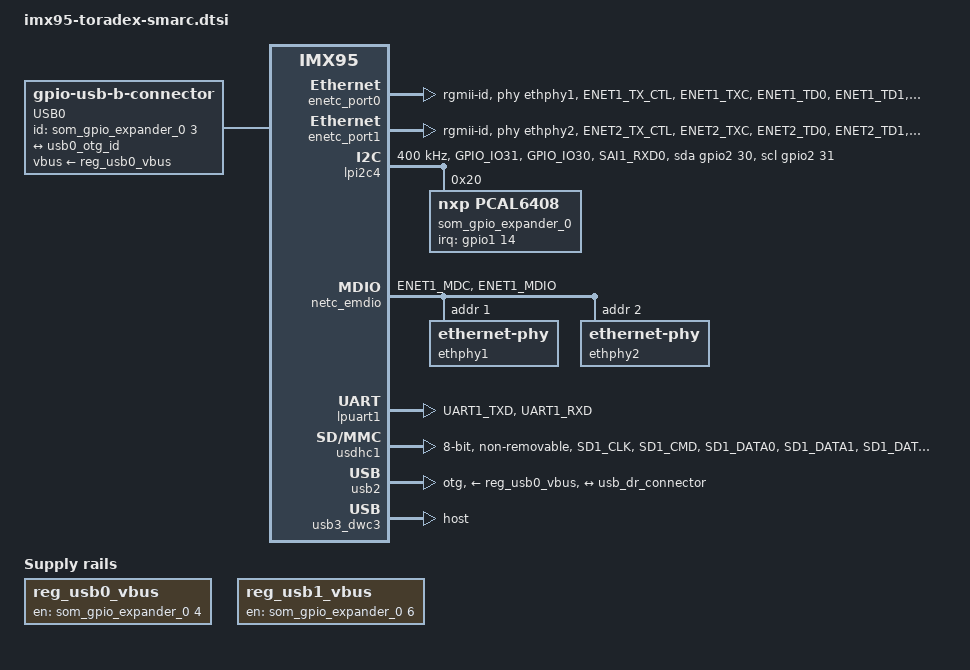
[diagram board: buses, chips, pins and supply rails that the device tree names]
// SPDX-License-Identifier: GPL-2.0-or-later OR MIT
/*
 * Copyright 2025 Toradex
 *
 * https://www.toradex.com/computer-on-modules/smarc-arm-family/nxp-imx95
 */

#include <dt-bindings/net/ti-dp83867.h>
#include "imx95.dtsi"

/ {
	chosen {
		stdout-path = "serial1:115200n8";
	};

	aliases {
		mmc0 = &usdhc1;
		serial1 = &lpuart1;
		ethernet0 = &enetc_port0;
		ethernet1 = &enetc_port1;
	};

	connector {
		compatible = "gpio-usb-b-connector", "usb-b-connector";
		/* SMARC P64 - USB0_OTG_ID */
		id-gpios = <&som_gpio_expander_0 3 GPIO_ACTIVE_HIGH>;
		label = "USB0";
		self-powered;
		type = "micro";
		vbus-supply = <&reg_usb0_vbus>;

		port {
			usb_dr_connector: endpoint {
				remote-endpoint = <&usb0_otg_id>;
			};
		};
	};

	reg_usb0_vbus: regulator-usb0-vbus {
		compatible = "regulator-fixed";
		/* SMARC P62 - USB0_EN_OC# */
		gpios = <&som_gpio_expander_0 4 GPIO_ACTIVE_HIGH>;
		enable-active-high;
		regulator-name = "USB0_EN_OC#";
	};

	reg_usb1_vbus: regulator-usb1-vbus {
		compatible = "regulator-fixed";
		/* CTRL_V_BUS_USB_HUB or SMARC P71 - USB2_EN_OC# */
		gpios = <&som_gpio_expander_0 6 GPIO_ACTIVE_HIGH>;
		enable-active-high;
		regulator-name = "CTRL_V_BUS_USB_HUB";
	};
};

/* SMARC GBE0 */
&enetc_port0 {
	pinctrl-names = "default";
	pinctrl-0 = <&pinctrl_enetc0>, <&pinctrl_enetc0_1588_tmr>;
	phy-handle = <&ethphy1>;
	phy-mode = "rgmii-id";
};

/* SMARC GBE1 */
&enetc_port1 {
	pinctrl-names = "default";
	pinctrl-0 = <&pinctrl_enetc1>, <&pinctrl_enetc1_1588_tmr>;
	phy-handle = <&ethphy2>;
	phy-mode = "rgmii-id";
};

/* SMARC I2C_CAM0 */
&lpi2c4 {
	pinctrl-names = "default", "gpio";
	pinctrl-0 = <&pinctrl_lpi2c4>, <&pinctrl_ctrl_io_exp_int_b>;
	pinctrl-1 = <&pinctrl_lpi2c4_gpio>, <&pinctrl_ctrl_io_exp_int_b>;
	#address-cells = <1>;
	#size-cells = <0>;
	clock-frequency = <400000>;
	scl-gpios = <&gpio2 31 (GPIO_ACTIVE_HIGH | GPIO_OPEN_DRAIN)>;
	sda-gpios = <&gpio2 30 (GPIO_ACTIVE_HIGH | GPIO_OPEN_DRAIN)>;
	status = "okay";

	som_gpio_expander_0: gpio-expander@20 {
		compatible = "nxp,pcal6408";
		reg = <0x20>;
		#interrupt-cells = <2>;
		interrupt-controller;
		interrupt-parent = <&gpio1>;
		interrupts = <14 IRQ_TYPE_LEVEL_LOW>;
		#gpio-cells = <2>;
		gpio-controller;
		gpio-line-names =
			"SMARC_PCIE_WAKE#", /* 0 */
			"SMARC_PCIE_B_RST#",
			"SMARC_PCIE_A_RST#",
			"SMARC_USB0_OTG_ID",
			"SMARC_USB0_EN", /* SMARC USB0_EN_OC# - Open Drain Output */
			"SMARC_USB0_OC#", /* SMARC USB0_EN_OC# - Over-Current Sense Input */
			"",
			"SMARC_PCIE_C_RST#";
	};
};

/* SMARC MDIO, shared between all ethernet ports */
&netc_emdio {
	pinctrl-names = "default";
	pinctrl-0 = <&pinctrl_emdio>;

	ethphy1: ethernet-phy@1 {
		reg = <1>;
		ti,rx-internal-delay = <DP83867_RGMIIDCTL_2_00_NS>;
		ti,tx-internal-delay = <DP83867_RGMIIDCTL_2_00_NS>;
	};

	ethphy2: ethernet-phy@2 {
		reg = <2>;
		ti,rx-internal-delay = <DP83867_RGMIIDCTL_2_00_NS>;
		ti,tx-internal-delay = <DP83867_RGMIIDCTL_2_00_NS>;
	};
};

/* SMARC SER1, used as the Linux Console */
&lpuart1 {
	pinctrl-names = "default";
	pinctrl-0 = <&pinctrl_uart1>;
};

/* On-module eMMC */
&usdhc1 {
	pinctrl-names = "default", "state_100mhz", "state_200mhz";
	pinctrl-0 = <&pinctrl_usdhc1>;
	pinctrl-1 = <&pinctrl_usdhc1>;
	pinctrl-2 = <&pinctrl_usdhc1_200mhz>;
	bus-width = <8>;
	non-removable;
	no-sdio;
	no-sd;
	status = "okay";
};

/* SMARC USB0 */
&usb2 {
	adp-disable;
	dr_mode = "otg";
	hnp-disable;
	srp-disable;
	usb-role-switch;
	vbus-supply = <&reg_usb0_vbus>;

	port {
		usb0_otg_id: endpoint {
			remote-endpoint = <&usb_dr_connector>;
		};
	};
};

&usb3 {
	fsl,disable-port-power-control;
};

/* SMARC USB1..4  */
&usb3_dwc3 {
	dr_mode = "host";
};

&usb3_phy {
	vbus-supply = <&reg_usb1_vbus>;
};

&scmi_iomuxc {
	/* SMARC MDIO, shared between all ethernet ports */
	pinctrl_emdio: emdiogrp {
		fsl,pins = <IMX95_PAD_ENET1_MDC__NETCMIX_TOP_NETC_MDC	0x57e>, /* SMARC S45 - MDIO_CLK */
			   <IMX95_PAD_ENET1_MDIO__NETCMIX_TOP_NETC_MDIO	0x97e>; /* SMARC S46 - MDIO_DAT */
	};

	/* SMARC GBE0 */
	pinctrl_enetc0: enetc0grp {
		fsl,pins = <IMX95_PAD_ENET1_TX_CTL__NETCMIX_TOP_ETH0_RGMII_TX_CTL	0x57e>, /* ENET1_TX_CTL */
			   <IMX95_PAD_ENET1_TXC__NETCMIX_TOP_ETH0_RGMII_TX_CLK		0x58e>, /* ENET1_TXC    */
			   <IMX95_PAD_ENET1_TD0__NETCMIX_TOP_ETH0_RGMII_TD0		0x57e>, /* ENET1_TDO    */
			   <IMX95_PAD_ENET1_TD1__NETCMIX_TOP_ETH0_RGMII_TD1		0x57e>, /* ENET1_TD1    */
			   <IMX95_PAD_ENET1_TD2__NETCMIX_TOP_ETH0_RGMII_TD2		0x57e>, /* ENET1_TD2    */
			   <IMX95_PAD_ENET1_TD3__NETCMIX_TOP_ETH0_RGMII_TD3		0x57e>, /* ENET1_TD3    */
			   <IMX95_PAD_ENET1_RX_CTL__NETCMIX_TOP_ETH0_RGMII_RX_CTL	0x57e>, /* ENET1_RX_CTL */
			   <IMX95_PAD_ENET1_RXC__NETCMIX_TOP_ETH0_RGMII_RX_CLK		0x58e>, /* ENET1_RXC    */
			   <IMX95_PAD_ENET1_RD0__NETCMIX_TOP_ETH0_RGMII_RD0		0x57e>, /* ENET1_RD0    */
			   <IMX95_PAD_ENET1_RD1__NETCMIX_TOP_ETH0_RGMII_RD1		0x57e>, /* ENET1_RD1    */
			   <IMX95_PAD_ENET1_RD2__NETCMIX_TOP_ETH0_RGMII_RD2		0x57e>, /* ENET1_RD2    */
			   <IMX95_PAD_ENET1_RD3__NETCMIX_TOP_ETH0_RGMII_RD3		0x57e>; /* ENET1_RD3    */
	};

	/* SMARC GBE0_SDP */
	pinctrl_enetc0_1588_tmr: enetc01588tmrgrp {
		fsl,pins = <IMX95_PAD_CCM_CLKO2__NETCMIX_TOP_NETC_TMR_1588_PP1	0x51e>; /* SMARC P6 - GBE0_SDP */
	};

	/* SMARC GBE1 */
	pinctrl_enetc1: enetc1grp {
		fsl,pins = <IMX95_PAD_ENET2_TX_CTL__NETCMIX_TOP_ETH1_RGMII_TX_CTL	0x57e>, /* ENET2_TX_CTL */
			   <IMX95_PAD_ENET2_TXC__NETCMIX_TOP_ETH1_RGMII_TX_CLK		0x58e>, /* ENET2_TXC    */
			   <IMX95_PAD_ENET2_TD0__NETCMIX_TOP_ETH1_RGMII_TD0		0x57e>, /* ENET2_TD0    */
			   <IMX95_PAD_ENET2_TD1__NETCMIX_TOP_ETH1_RGMII_TD1		0x57e>, /* ENET2_TD1    */
			   <IMX95_PAD_ENET2_TD2__NETCMIX_TOP_ETH1_RGMII_TD2		0x57e>, /* ENET2_TD2    */
			   <IMX95_PAD_ENET2_TD3__NETCMIX_TOP_ETH1_RGMII_TD3		0x57e>, /* ENET2_TD3    */
			   <IMX95_PAD_ENET2_RX_CTL__NETCMIX_TOP_ETH1_RGMII_RX_CTL	0x57e>, /* ENET2_RX_CTL */
			   <IMX95_PAD_ENET2_RXC__NETCMIX_TOP_ETH1_RGMII_RX_CLK		0x58e>, /* ENET2_RXC    */
			   <IMX95_PAD_ENET2_RD0__NETCMIX_TOP_ETH1_RGMII_RD0		0x57e>, /* ENET2_RD0    */
			   <IMX95_PAD_ENET2_RD1__NETCMIX_TOP_ETH1_RGMII_RD1		0x57e>, /* ENET2_RD1    */
			   <IMX95_PAD_ENET2_RD2__NETCMIX_TOP_ETH1_RGMII_RD2		0x57e>, /* ENET2_RD2    */
			   <IMX95_PAD_ENET2_RD3__NETCMIX_TOP_ETH1_RGMII_RD3		0x57e>; /* ENET2_RD3    */
	};

	/* SMARC GBE1_SDP */
	pinctrl_enetc1_1588_tmr: enetc11588tmrgrp {
		fsl,pins = < IMX95_PAD_CCM_CLKO4__NETCMIX_TOP_NETC_TMR_1588_PP2	0x51e>; /* SMARC P5 - GBE1_SDP */
	};

	pinctrl_ctrl_io_exp_int_b: ioexpintgrp {
		fsl,pins = <IMX95_PAD_SAI1_RXD0__AONMIX_TOP_GPIO1_IO_BIT14 0x31e>; /* CTRL_IO_EXP_INT_B */
	};

	/* SMARC I2C_CAM0 */
	pinctrl_lpi2c4: lpi2c4grp {
		fsl,pins = <IMX95_PAD_GPIO_IO31__LPI2C4_SCL	0x40001b9e>, /* SMARC S5 - I2C_CAM0_CK  */
			   <IMX95_PAD_GPIO_IO30__LPI2C4_SDA	0x40001b9e>; /* SMARC S7 - I2C_CAM0_DAT */
	};

	/* SMARC I2C_CAM0 as GPIOs */
	pinctrl_lpi2c4_gpio: lpi2c4gpiogrp {
		fsl,pins = <IMX95_PAD_GPIO_IO31__GPIO2_IO_BIT31	0x40001b9e>, /* SMARC S5 - I2C_CAM0_CK  */
			   <IMX95_PAD_GPIO_IO30__GPIO2_IO_BIT30	0x40001b9e>; /* SMARC S7 - I2C_CAM0_DAT */
	};

	/* SMARC SER1, used as the Linux Console */
	pinctrl_uart1: uart1grp {
		fsl,pins = <IMX95_PAD_UART1_TXD__AONMIX_TOP_LPUART1_TX	0x31e>, /* SMARC P134 - SER1_TX */
			   <IMX95_PAD_UART1_RXD__AONMIX_TOP_LPUART1_RX	0x31e>; /* SMARC P135 - SER1_RX */
	};

	/* On-module eMMC */
	pinctrl_usdhc1: usdhc1grp {
		fsl,pins = <IMX95_PAD_SD1_CLK__USDHC1_CLK        0x158e>, /* SD1_CLK    */
			   <IMX95_PAD_SD1_CMD__USDHC1_CMD        0x138e>, /* SD1_CMD    */
			   <IMX95_PAD_SD1_DATA0__USDHC1_DATA0    0x138e>, /* SD1_DATA0  */
			   <IMX95_PAD_SD1_DATA1__USDHC1_DATA1    0x138e>, /* SD1_DATA1  */
			   <IMX95_PAD_SD1_DATA2__USDHC1_DATA2    0x138e>, /* SD1_DATA2  */
			   <IMX95_PAD_SD1_DATA3__USDHC1_DATA3    0x138e>, /* SD1_DATA3  */
			   <IMX95_PAD_SD1_DATA4__USDHC1_DATA4    0x138e>, /* SD1_DATA4  */
			   <IMX95_PAD_SD1_DATA5__USDHC1_DATA5    0x138e>, /* SD1_DATA5  */
			   <IMX95_PAD_SD1_DATA6__USDHC1_DATA6    0x138e>, /* SD1_DATA6  */
			   <IMX95_PAD_SD1_DATA7__USDHC1_DATA7    0x138e>, /* SD1_DATA7  */
			   <IMX95_PAD_SD1_STROBE__USDHC1_STROBE  0x158e>; /* SD1_STROBE */
	};

	pinctrl_usdhc1_200mhz: usdhc1-200mhzgrp {
		fsl,pins = <IMX95_PAD_SD1_CLK__USDHC1_CLK        0x15fe>, /* SD1_CLK    */
			   <IMX95_PAD_SD1_CMD__USDHC1_CMD        0x13fe>, /* SD1_CMD    */
			   <IMX95_PAD_SD1_DATA0__USDHC1_DATA0    0x13fe>, /* SD1_DATA0  */
			   <IMX95_PAD_SD1_DATA1__USDHC1_DATA1    0x13fe>, /* SD1_DATA1  */
			   <IMX95_PAD_SD1_DATA2__USDHC1_DATA2    0x13fe>, /* SD1_DATA2  */
			   <IMX95_PAD_SD1_DATA3__USDHC1_DATA3    0x13fe>, /* SD1_DATA3  */
			   <IMX95_PAD_SD1_DATA4__USDHC1_DATA4    0x13fe>, /* SD1_DATA4  */
			   <IMX95_PAD_SD1_DATA5__USDHC1_DATA5    0x13fe>, /* SD1_DATA5  */
			   <IMX95_PAD_SD1_DATA6__USDHC1_DATA6    0x13fe>, /* SD1_DATA6  */
			   <IMX95_PAD_SD1_DATA7__USDHC1_DATA7    0x13fe>, /* SD1_DATA7  */
			   <IMX95_PAD_SD1_STROBE__USDHC1_STROBE  0x15fe>; /* SD1_STROBE */
	};
};
